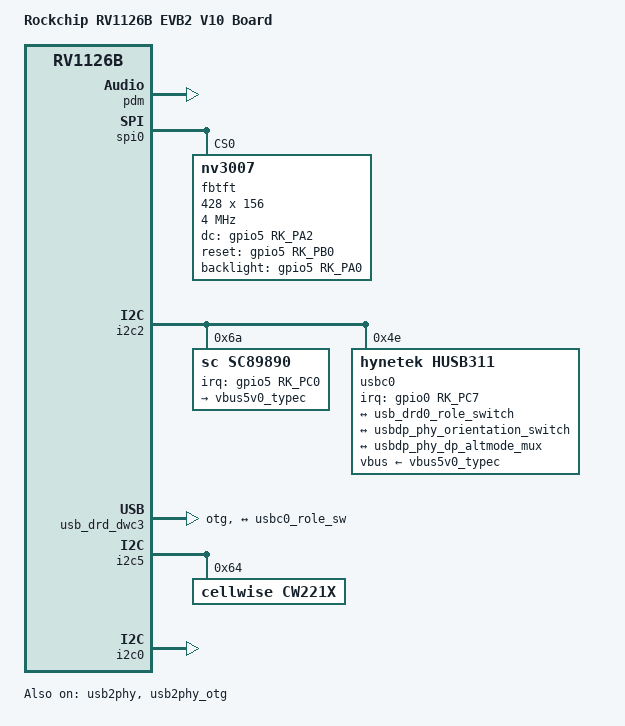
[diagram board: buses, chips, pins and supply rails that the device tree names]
// SPDX-License-Identifier: (GPL-2.0+ OR MIT)
/*
 * Copyright (c) 2025 Rockchip Electronics Co., Ltd.
 */

#include <dt-bindings/usb/pd.h>

/dts-v1/;
#include "rv1126b.dtsi"
#include "rv1126b-evb.dtsi"
#include "rv1126b-evb2-v10.dtsi"
#include "rv1126b-falcon-air-dual-cam.dtsi"
#include "falcon-air-motor.dtsi"

/ {
	model = "Rockchip RV1126B EVB2 V10 Board";
	compatible = "rockchip,rv1126b-evb2-v10", "rockchip,rv1126b";

    pdmics: dummy-codec {
        status = "okay";
        compatible = "rockchip,dummy-codec";
        #sound-dai-cells = <0>;
    };

    pdm_mic_array: pdm-mic-array {
        status = "okay";
        compatible = "simple-audio-card";
        simple-audio-card,name = "rockchip,pdm-mic-array";
        simple-audio-card,format = "pdm";

        simple-audio-card,cpu {
            sound-dai = <&pdm>;
        };

        simple-audio-card,codec {
            sound-dai = <&pdmics>;
        };
    };
};

&pdm {
    status = "okay";
    rockchip,always-on;
    rockchip,path-map = <0 1 2 3>;
    pinctrl-names = "default";
    pinctrl-0 = <&pdmm0_clk0_pins &pdmm0_sdi0_pins>;
};

&dsi {
	status = "disabled";
};

&dsi_in_vop {
	status = "disabled";
};

&gmac {
	status = "disabled";
};

&rockchip_suspend {
	status = "okay";

	rockchip,sleep-mode-config = <
		(0
		| RKPM_SLP_ARMOFF_LOGOFF
		| RKPM_SLP_PMU_PMUALIVE_32K
		| RKPM_SLP_PMU_DIS_OSC
		| RKPM_SLP_32K_EXT
		| RKPM_SLP_LP_AOA
		)
	>;

	rockchip,sleep-pin-config = <
		(0
		| RKPM_SLEEP_PIN0_EN
		)
		(0
		| RKPM_SLEEP_PIN0_ACT_LOW
		)
	>;

	rockchip,wakeup-config = <
		(0
		| RKPM_GPIO0_WKUP_EN
		| RKPM_AAD_WKUP_EN
		)
	>;

	rockchip,sleep-io-config = <
		/* pmic_sleep */
		(0
		| RKPM_IO_CFG_IOMUX_GPIO
		| RKPM_IO_CFG_GPIO_DIR_INPUT
		| RKPM_IO_CFG_PULL_DOWN
		| RKPM_IO_CFG_ID(0)
		)
		/* reset */
		#if 0
		(0
		| RKPM_IO_CFG_IOMUX_GPIO
		| RKPM_IO_CFG_GPIO_DIR_INPUT
		| RKPM_IO_CFG_PULL_NONE
		| RKPM_IO_CFG_ID(1)
		)
		#endif
		(0
		| RKPM_IO_CFG_IOMUX_GPIO
		| RKPM_IO_CFG_GPIO_DIR_INPUT
		| RKPM_IO_CFG_PULL_DOWN
		| RKPM_IO_CFG_ID(2)
		)
		(0
		| RKPM_IO_CFG_PULL_NONE
		| RKPM_IO_CFG_ID(3)
		)
		(0
		| RKPM_IO_CFG_IOMUX_GPIO
		| RKPM_IO_CFG_GPIO_DIR_INPUT
		| RKPM_IO_CFG_PULL_UP
		| RKPM_IO_CFG_ID(4)
		)
		(0
		| RKPM_IO_CFG_IOMUX_GPIO
		| RKPM_IO_CFG_GPIO_DIR_INPUT
		| RKPM_IO_CFG_PULL_DOWN
		| RKPM_IO_CFG_ID(5)
		)
		(0
		| RKPM_IO_CFG_IOMUX_GPIO
		| RKPM_IO_CFG_GPIO_DIR_INPUT
		| RKPM_IO_CFG_PULL_DOWN
		| RKPM_IO_CFG_ID(6)
		)
		(0
		| RKPM_IO_CFG_IOMUX_GPIO
		| RKPM_IO_CFG_GPIO_DIR_INPUT
		| RKPM_IO_CFG_PULL_UP
		| RKPM_IO_CFG_ID(7)
		)
		(0
		| RKPM_IO_CFG_IOMUX_GPIO
		| RKPM_IO_CFG_GPIO_DIR_INPUT
		| RKPM_IO_CFG_PULL_DOWN
		| RKPM_IO_CFG_ID(8)
		)
		(0
		| RKPM_IO_CFG_IOMUX_GPIO
		| RKPM_IO_CFG_GPIO_DIR_INPUT
		| RKPM_IO_CFG_PULL_DOWN
		| RKPM_IO_CFG_ID(9)
		)
		(0
		| RKPM_IO_CFG_IOMUX_GPIO
		| RKPM_IO_CFG_GPIO_DIR_INPUT
		| RKPM_IO_CFG_PULL_DOWN
		| RKPM_IO_CFG_ID(10)
		)
		/* uart0 tx */
		(0
		| RKPM_IO_CFG_IOMUX_GPIO
		| RKPM_IO_CFG_GPIO_DIR_INPUT
		| RKPM_IO_CFG_PULL_DOWN
		| RKPM_IO_CFG_ID(11)
		)
		(0
		| RKPM_IO_CFG_IOMUX_GPIO
		| RKPM_IO_CFG_GPIO_DIR_INPUT
		| RKPM_IO_CFG_PULL_DOWN
		| RKPM_IO_CFG_ID(12)
		)
		(0
		| RKPM_IO_CFG_IOMUX_GPIO
		| RKPM_IO_CFG_GPIO_DIR_INPUT
		| RKPM_IO_CFG_PULL_DOWN
		| RKPM_IO_CFG_ID(16)
		)
		(0
		| RKPM_IO_CFG_IOMUX_GPIO
		| RKPM_IO_CFG_GPIO_DIR_INPUT
		| RKPM_IO_CFG_PULL_DOWN
		| RKPM_IO_CFG_ID(17)
		)
		(0
		| RKPM_IO_CFG_IOMUX_GPIO
		| RKPM_IO_CFG_GPIO_DIR_INPUT
		| RKPM_IO_CFG_PULL_NONE
		| RKPM_IO_CFG_ID(18)
		)
		(0
		| RKPM_IO_CFG_IOMUX_GPIO
		| RKPM_IO_CFG_GPIO_DIR_INPUT
		| RKPM_IO_CFG_PULL_NONE
		| RKPM_IO_CFG_ID(19)
		)
		(0
		| RKPM_IO_CFG_IOMUX_GPIO
		| RKPM_IO_CFG_GPIO_DIR_INPUT
		| RKPM_IO_CFG_PULL_DOWN
		| RKPM_IO_CFG_ID(20)
		)
		(0
		| RKPM_IO_CFG_IOMUX_GPIO
		| RKPM_IO_CFG_GPIO_DIR_INPUT
		| RKPM_IO_CFG_PULL_DOWN
		| RKPM_IO_CFG_ID(21)
		)
		(0
		| RKPM_IO_CFG_IOMUX_GPIO
		| RKPM_IO_CFG_GPIO_DIR_INPUT
		| RKPM_IO_CFG_PULL_DOWN
		| RKPM_IO_CFG_ID(22)
		)
		(0
		| RKPM_IO_CFG_IOMUX_GPIO
		| RKPM_IO_CFG_GPIO_DIR_INPUT
		| RKPM_IO_CFG_PULL_DOWN
		| RKPM_IO_CFG_ID(23)
		)
		(0
		| RKPM_IO_CFG_IOMUX_GPIO
		| RKPM_IO_CFG_GPIO_DIR_INPUT
		| RKPM_IO_CFG_PULL_DOWN
		| RKPM_IO_CFG_ID(24)
		)
		(0
		| RKPM_IO_CFG_IOMUX_GPIO
		| RKPM_IO_CFG_GPIO_DIR_INPUT
		| RKPM_IO_CFG_PULL_DOWN
		| RKPM_IO_CFG_ID(25)
		)
	>;
};

/**************************************************************/
/* LCD NV3007 */
&spi0 {
    status = "okay";
    spi-max-frequency = <4000000>;
    pinctrl-names = "default";
    pinctrl-0 = <&spi0m2_clk_pins &spi0m2_csn0_pins>;

    fbtft@0{
        status = "okay";
        compatible = "nv3007";
        reg = <0>;
        spi-max-frequency = <4000000>;
        fps = <30>;
        width = <428>;
        height = <156>;
        buswidth = <8>;
        regwidth = <8>;
        bpp = <16>;
        debug = <0x4>;
        dc-gpios = <&gpio5 RK_PA2 GPIO_ACTIVE_HIGH>;
        reset-gpios = <&gpio5 RK_PB0 GPIO_ACTIVE_HIGH>;
        backlight-gpios = <&gpio5 RK_PA0 GPIO_ACTIVE_HIGH>;
    };
};
/**************************************************************/

/**************************************************************/
/* PD:husb311, charger:sc89890 */
&pinctrl {
    charger {
		charger_ok: charger_ok {
			rockchip,pins =
					<5 RK_PB7 RK_FUNC_GPIO &pcfg_pull_up>;
		};
    };
};

&i2c2 {
    status = "okay";
    pinctrl-0 = <&i2c2m0_pins>;

	sc89890: sc89890@6a {
		compatible = "sc,sc89890";
		reg = <0x6a>;
		status = "okay";
		pinctrl-names = "default";
		pinctrl-0 = <&charger_ok>;
		interrupt-parent = <&gpio5>;
		interrupts = <RK_PC0 IRQ_TYPE_EDGE_FALLING>; /* IRQ_TYPE_LEVEL_LOW>;*/
		sc,battery-regulation-voltage = <4350000>; /* 4.4V */
		sc,charge-current = <4000000>; /* 4.0A */
		sc,termination-current = <100000>;  /* 100mA */
		sc,precharge-current = <500000>; /* 130mA */
		sc,minimum-sys-voltage = <3400000>; /* 3V */
		sc,boost-voltage = <5000000>; /* 5V */
		sc,boost-max-current = <1600000>; /* 1600mA */

		sc,thermal-regulation-threshold = <4000000>;

		sc,ibatcomp-clamp-microvolt = <100000>;
		sc,ibatcomp-micro-ohms = <20>;
		// monitored-battery = <&bat>;
		regulators {
			// otg-en-gpios = <&gpio5 RK_PC1 GPIO_ACTIVE_HIGH>;
			vbus5v0_typec: vbus5v0-typec {
				regulator-compatible = "otg-vbus";
				regulator-name = "vbus5v0_typec";
				regulator-always-on;
				regulator-boot-on;
			};
		};
	};

	usbc0: husb311@4e {
		compatible = "hynetek,husb311";
		reg = <0x4e>;
		interrupt-parent = <&gpio0>;
		interrupts = <RK_PC7 IRQ_TYPE_LEVEL_LOW>;
		//pinctrl-names = "default";
		//pinctrl-0 = <&usbc0_int>;
		vbus-supply = <&vbus5v0_typec>;
		status = "okay";

		port {
			usbc0_role_sw: endpoint {
				remote-endpoint = <&usb_drd0_role_switch>;
			};
		};

		usb_con: connector {
			compatible = "usb-c-connector";
			label = "USB-C";
			data-role = "dual";
			power-role = "dual";
			try-power-role = "sink";
			op-sink-microwatt = <1000000>;
			sink-pdos =
				<PDO_FIXED(5000, 1000, PDO_FIXED_USB_COMM)
				PDO_FIXED(9000, 3000, PDO_FIXED_USB_COMM)
				PDO_FIXED(12000, 3000, PDO_FIXED_USB_COMM)>;
			source-pdos =
				<PDO_FIXED(5000, 3000, PDO_FIXED_USB_COMM)>;

			/*
			altmodes {
				#address-cells = <1>;
				#size-cells = <0>;

				altmode@0 {
					reg = <0>;
					svid = <0xff01>;
					vdo = <0xffffffff>;
				};
			};
			*/

			ports {
				#address-cells = <1>;
				#size-cells = <0>;

				port@0 {
					reg = <0>;
					usbc0_orien_sw: endpoint {
						remote-endpoint = <&usbdp_phy_orientation_switch>;
					};
				};

				port@1 {
					reg = <1>;
					dp_altmode_mux: endpoint {
						remote-endpoint = <&usbdp_phy_dp_altmode_mux>;
					};
				};
			};
		};
	};
};

&usb2phy {
	status = "okay";
	orientation-switch;
	svid = <0xff01>;

	port {
		#address-cells = <1>;
		#size-cells = <0>;

		usbdp_phy_orientation_switch: endpoint@0 {
			reg = <0>;
			remote-endpoint = <&usbc0_orien_sw>;
		};

		usbdp_phy_dp_altmode_mux: endpoint@1 {
			reg = <1>;
			remote-endpoint = <&dp_altmode_mux>;
		};
	};
};

&usb2phy_otg {
	status = "okay";
};

&usb_drd_dwc3 {
	dr_mode = "otg";
	// usb-role-switch;

    status = "okay";
	port {
		usb_drd0_role_switch: endpoint {
			remote-endpoint = <&usbc0_role_sw>;
		};
	};
};
/**************************************************************/

/**************************************************************/
/* Gauge CW2215 sdasd*/

&i2c5 {
	status = "okay";
	pinctrl-0 = <&i2c5m2_pins>;

	cw221X@64 {
		compatible = "cellwise,cw221X";
		reg = <0x64>;
		status = "okay";
		cw,user_rsense = <10000>;
		cellwise,battery-profile = /bits/ 8
			<0x5A 0x00 0x00 0x00 0x00 0x00 0x00 0x00
			 0xB3 0xC0 0xB0 0xA9 0x99 0x97 0xF4 0xEE
			 0xED 0xAE 0x9B 0x87 0x6F 0x58 0x4F 0x49
			 0x44 0x42 0x3D 0x9B 0x9E 0xD2 0x82 0xEC
			 0xCF 0x74 0x4D 0x46 0x85 0xC1 0xD3 0xCB
			 0xBD 0xBB 0xBD 0xBA 0xC1 0xC6 0xC5 0xC0
			 0xC3 0xCD 0xC1 0xCE 0xE4 0xE2 0xFF 0x91
			 0x20 0x00 0xAB 0x10 0x02 0x90 0x64 0x00
			 0x00 0x00 0x64 0xAB 0xB3 0x5E 0x00 0x00
			 0x00 0x00 0x00 0x00 0x00 0x00 0x00 0x0D>;
	};
};

/**************************************************************/
/**************************************************************/
/* KTH3601 hall*/
&i2c0 {
	status = "okay";
};
/**************************************************************/
